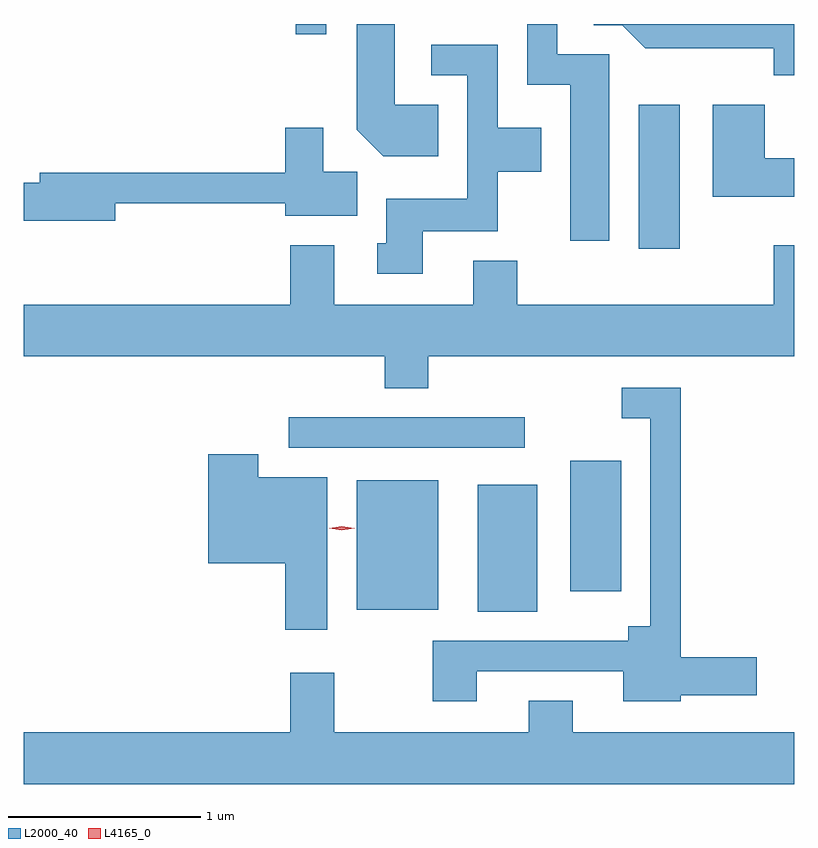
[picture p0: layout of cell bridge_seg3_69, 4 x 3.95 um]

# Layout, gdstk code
import gdstk
lib = gdstk.Library(unit=1e-6, precision=1e-09)
def R(c, l, rs):  # rectangles x0, y0, x1, y1
    for r in rs: c.add(gdstk.rectangle(r[:2], r[2:], *l))
def P(c, l, *ps):  # polygons
    for p in ps: c.add(gdstk.Polygon(p, *l))
L2000_40 = (2000, 40)
L4165_0 = (4165, 0)

bridge_seg3_69 = lib.new_cell('bridge_seg3_69')
R(bridge_seg3_69, L2000_40, [(1119.836,1191.291,1120.144,1191.949), (1119.206,1191.301,1119.629,1191.974), (1120.316,1191.396,1120.579,1192.074), (1118.853,1192.141,1120.078,1192.299), (1120.671,1193.176,1120.884,1193.924), (1118.891,1194.288,1119.049,1194.342)])
P(bridge_seg3_69, L2000_40, [(1120.519,1194.184),(1120.249,1194.184),(1120.249,1194.342),(1120.091,1194.342),(1120.091,1194.026),(1120.316,1194.026),(1120.316,1193.216),(1120.519,1193.216)],
  [(1121.478,1194.342),(1120.438,1194.342),(1120.438,1194.336),(1120.584,1194.336),(1120.704,1194.216),(1121.371,1194.216),(1121.371,1194.076),(1121.478,1194.076)],
  [(1119.629,1193.924),(1119.404,1193.924),(1119.404,1194.342),(1119.206,1194.342),(1119.206,1193.794),(1119.344,1193.656),(1119.629,1193.656)],
  [(1119.549,1193.266),(1119.939,1193.266),(1119.939,1193.576),(1120.164,1193.576),(1120.164,1193.804),(1119.939,1193.804),(1119.939,1194.234),(1119.593,1194.234),(1119.593,1194.076),(1119.781,1194.076),(1119.781,1193.434),(1119.361,1193.434),(1119.361,1193.204),(1119.313,1193.204),(1119.313,1193.046),(1119.549,1193.046)],
  [(1121.478,1193.644),(1121.324,1193.644),(1121.324,1193.924),(1121.056,1193.924),(1121.056,1193.446),(1121.478,1193.446)],
  [(1117.954,1193.411),(1118.836,1193.411),(1118.836,1193.346),(1119.209,1193.346),(1119.209,1193.574),(1119.034,1193.574),(1119.034,1193.804),(1118.836,1193.804),(1118.836,1193.569),(1117.561,1193.569),(1117.561,1193.519),(1117.478,1193.519),(1117.478,1193.321),(1117.954,1193.321)],
  [(1119.579,1192.616),(1121.478,1192.616),(1121.478,1193.194),(1121.371,1193.194),(1121.371,1192.884),(1120.039,1192.884),(1120.039,1193.114),(1119.811,1193.114),(1119.811,1192.884),(1119.089,1192.884),(1119.089,1193.194),(1118.861,1193.194),(1118.861,1192.884),(1117.478,1192.884),(1117.478,1192.616),(1119.351,1192.616),(1119.351,1192.451),(1119.579,1192.451)],
  [(1119.829,1190.981),(1120.591,1190.981),(1120.591,1190.826),(1120.889,1190.826),(1120.889,1190.856),(1121.284,1190.856),(1121.284,1191.054),(1120.889,1191.054),(1120.889,1192.454),(1120.583,1192.454),(1120.583,1192.296),(1120.731,1192.296),(1120.731,1191.214),(1120.616,1191.214),(1120.616,1191.139),(1119.601,1191.139),(1119.601,1190.826),(1119.829,1190.826)],
  [(1119.054,1191.989),(1118.694,1191.989),(1118.694,1192.109),(1118.436,1192.109),(1118.436,1191.541),(1118.836,1191.541),(1118.836,1191.196),(1119.054,1191.196)],
  [(1121.478,1190.664),(1120.329,1190.664),(1120.329,1190.829),(1120.101,1190.829),(1120.101,1190.664),(1119.089,1190.664),(1119.089,1190.974),(1118.861,1190.974),(1118.861,1190.664),(1117.478,1190.664),(1117.478,1190.396),(1121.478,1190.396)])
P(bridge_seg3_69, L4165_0, [(1119.13,1191.714),(1119.064,1191.724),(1119.063,1191.724),(1119.064,1191.725),(1119.13,1191.734),(1119.196,1191.725),(1119.196,1191.724),(1119.196,1191.724)])

lib.write_gds('bridge_seg3_69.gds')
